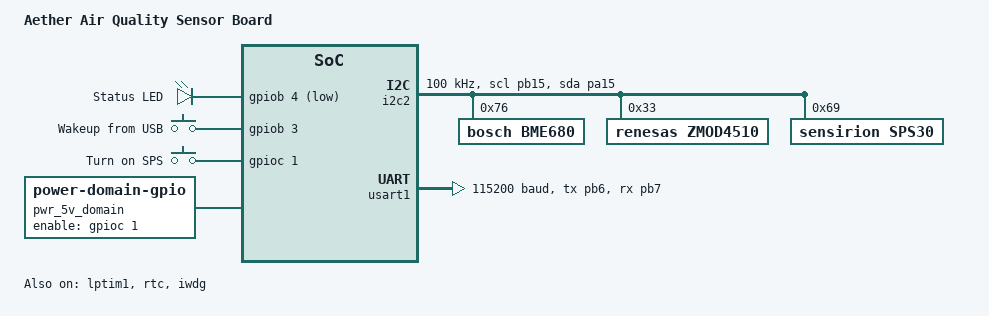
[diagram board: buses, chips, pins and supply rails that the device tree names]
/*
 * Copyright (c) 2021 Thomas Stranger
 *
 * SPDX-License-Identifier: Apache-2.0
 */

/dts-v1/;
#include <seeed/lora-e5.dtsi>

/ {
	model = "Aether Air Quality Sensor Board";
	compatible = "ucf-aether,aether-v1";

	chosen {
		zephyr,console = &usart1;
		zephyr,shell-uart = &usart1;
		zephyr,sram = &sram0;
		zephyr,flash = &flash0;
		zephyr,code-partition = &flash0;
	};

	leds {
		compatible = "gpio-leds";
		status0: led_0 {
			gpios = <&gpiob 4 GPIO_ACTIVE_LOW>;
			label = "Status LED";
		};
	};

	aliases {
		lora0 = &lora;
    led0 = &status0;
	};

  gpio_keys {
    compatible = "gpio-keys";
    usb_wakeup: usb_wakeup {
      gpios = <&gpiob 3 GPIO_ACTIVE_HIGH>;
      label = "Wakeup from USB";
    };
	sps_power_pins: sps_power_pins {
		gpios = <&gpioc 1 GPIO_ACTIVE_HIGH>;
		label = "Turn on SPS";
	};
  };

  pwr_5v_domain: pwr_5v_domain {
    status = "okay";
    compatible = "power-domain-gpio";
    label = "pwr_5v_domain";
    enable-gpios = <&gpioc 1 GPIO_ACTIVE_HIGH>;
  };

	power-states {
		stop0: state0 {
			compatible = "zephyr,power-state";
			power-state-name = "suspend-to-idle";
			substate-id = <1>;
			min-residency-us = <100>;
		};
		/* stop1: state1 { */
		/* 	compatible = "zephyr,power-state"; */
		/* 	power-state-name = "suspend-to-idle"; */
		/* 	substate-id = <2>; */
		/* 	min-residency-us = <500>; */
		/* }; */
		/* stop2: state2 { */
		/* 	compatible = "zephyr,power-state"; */
		/* 	power-state-name = "suspend-to-idle"; */
		/* 	substate-id = <3>; */
		/* 	min-residency-us = <900>; */
		/* }; */
	};
};

sensors: &i2c2 {
  bme680: bme680@76 {
    compatible = "bosch,bme680";
    reg = <0x76>;
    label = "BME680";
    status="okay";
  };
  zmod4510: zmod4510@33 {
    compatible = "renesas,zmod4510";
    reg = <0x33>;
    label = "ZMOD4510";
    status="okay";
  };
  sps30: sps30@69 {
    compatible = "sensirion,sps30";
    reg = <0x69>;
    label = "SPS30";
    status="okay";
    power-domain = <&pwr_5v_domain>;
  };
};

&gpiob {
  wakeup-source;
};

&cpu0 {
	/* cpu-power-states = <&stop0 &stop1 &stop2>; */
	cpu-power-states = <&stop0>;
};

&lptim1 {
	status = "okay";
};

&clk_msi {
	status = "okay";
	msi-range = <11>;
};

&pll {
	clocks = <&clk_msi>;
	div-m = <3>;
	mul-n = <6>;
	div-r = <2>;
	div-q = <2>;
	div-p = <2>;
	status = "okay";
};

&rcc {
	clocks = <&clk_msi>;
	clock-frequency = <DT_FREQ_M(48)>;
	cpu1-prescaler = <1>;
	ahb3-prescaler = <1>;
	apb1-prescaler = <1>;
	apb2-prescaler = <1>;
};

&usart1 {
	pinctrl-0 = <&usart1_tx_pb6 &usart1_rx_pb7>;
	pinctrl-names = "default";
	current-speed = <115200>;
	status = "okay";
};

&i2c2 {
	pinctrl-0 = <&i2c2_scl_pb15 &i2c2_sda_pa15>;
	pinctrl-names = "default";
	status = "okay";
  /* sps30 has a max frequency of 100kHz */
	clock-frequency = <I2C_BITRATE_STANDARD>;
};

&rtc {
	status = "okay";
};

&iwdg {
	status = "okay";
};

&flash0 {
	partitions {
		compatible = "fixed-partitions";
		#address-cells = <1>;
		#size-cells = <1>;

		/* 16KB (8x2kB pages) of storage at the end of the flash */
		storage_partition: partition@3c000 {
			label = "storage";
			reg = <0x0003c000 0x00004000>;
		};
	};
};

/*
 * Other Pins:
 * Not assigned:  None
 * Debug:         PA13(swdio), PA14(swclk)
 */
